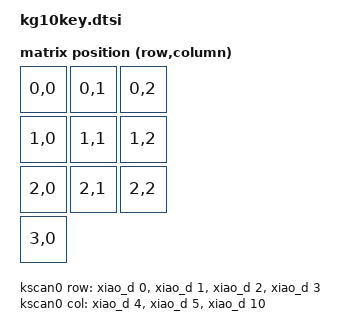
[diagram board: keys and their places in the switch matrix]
#include <dt-bindings/zmk/matrix_transform.h>
#include <physical_layouts.dtsi>

/ {
    default_transform: matrix_transform {
        compatible = "zmk,matrix-transform";
        columns = <3>;
        rows = <4>;
        map = <
            RC(0,0) RC(0,1) RC(0,2)
            RC(1,0) RC(1,1) RC(1,2)
            RC(2,0) RC(2,1) RC(2,2)
            RC(3,0)
        >;
    };

    default_layout: default_layout {
        compatible = "zmk,physical-layout";
        display-name = "Default Layout";
        transform = <&default_transform>;
        kscan = <&kscan0>;
        keys
            //                     w    h    x    y   rot   rx   ry
            = <&key_physical_attrs 100 100    0   0    0    0    0>
            , <&key_physical_attrs 100 100  100   0    0    0    0>
            , <&key_physical_attrs 100 100  200   0    0    0    0>
            , <&key_physical_attrs 100 100    0 100    0    0    0>
            , <&key_physical_attrs 100 100  100 100    0    0    0>
            , <&key_physical_attrs 100 100  200 100    0    0    0>
            , <&key_physical_attrs 100 100    0 200    0    0    0>
            , <&key_physical_attrs 100 100  100 200    0    0    0>
            , <&key_physical_attrs 100 100  200 200    0    0    0>
            , <&key_physical_attrs 100 100    0 300    0    0    0>
            ;
    };

    kscan0: kscan {
        compatible = "zmk,kscan-gpio-matrix";
        diode-direction = "col2row";

        col-gpios
            = <&xiao_d 4 GPIO_ACTIVE_HIGH>
            , <&xiao_d 5 GPIO_ACTIVE_HIGH>
            , <&xiao_d 10 GPIO_ACTIVE_HIGH>
            ;

        row-gpios
            = <&xiao_d 0 (GPIO_ACTIVE_HIGH | GPIO_PULL_DOWN)>
            , <&xiao_d 1 (GPIO_ACTIVE_HIGH | GPIO_PULL_DOWN)>
            , <&xiao_d 2 (GPIO_ACTIVE_HIGH | GPIO_PULL_DOWN)>
            , <&xiao_d 3 (GPIO_ACTIVE_HIGH | GPIO_PULL_DOWN)>
            ;
    };
};
